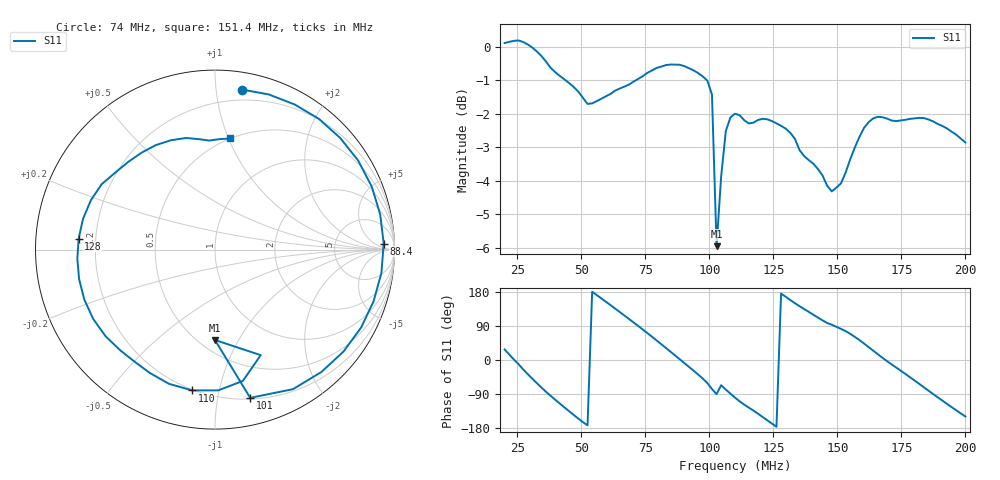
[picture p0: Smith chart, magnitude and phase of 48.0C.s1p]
# HZ S RI R 50
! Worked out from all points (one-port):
!   101 points, 20 MHz to 200 MHz, reference 50 ohm
!   lowest |S11| = -6.0 dB at 102.8 MHz (marker M1), VSWR 3.03, Z = 29.8 - j40.2 ohm
!   |S11| at or under -10 dB: nowhere
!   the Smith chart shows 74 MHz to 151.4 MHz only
!   S11 on the Smith chart (normalised r, x): 74 MHz: 0.12, +1.18; 88.4 MHz: 24, +14; 101 MHz: 0.21, -1.24; 110 MHz: 0.20, -0.83; 128 MHz: 0.14, +0.04; 151.4 MHz: 0.50, +1.02
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2e7  0.8966 0.4725
2.54e7  1.005 -0.1898
3.26e7  0.4761 -0.8618
3.8e7  -0.076 -0.9274
4.34e7  -0.5167 -0.7297
4.88e7  -0.7743 -0.3683
5.42e7  -0.8235 0.00169
6.5e7  -0.5154 0.6967
7.4e7  0.151 0.8917
8.12e7  0.6979 0.6216
8.84e7  0.94 0.0336
9.56e7  0.7161 -0.5677
1.01e8  0.1963 -0.826
1.028e8  -0.000223 -0.5037
1.046e8  0.2547 -0.588
1.1e8  -0.1274 -0.7844
1.208e8  -0.6789 -0.3859
1.28e8  -0.7598 0.0616
1.334e8  -0.6313 0.3643
1.424e8  -0.2455 0.6093
1.514e8  0.0863 0.6193
1.55e8  0.2418 0.6346
1.604e8  0.5495 0.5204
1.658e8  0.7589 0.2062
1.712e8  0.7604 -0.1557
1.784e8  0.5462 -0.5578
1.892e8  -0.1133 -0.7587
2e8  -0.6179 -0.3694
